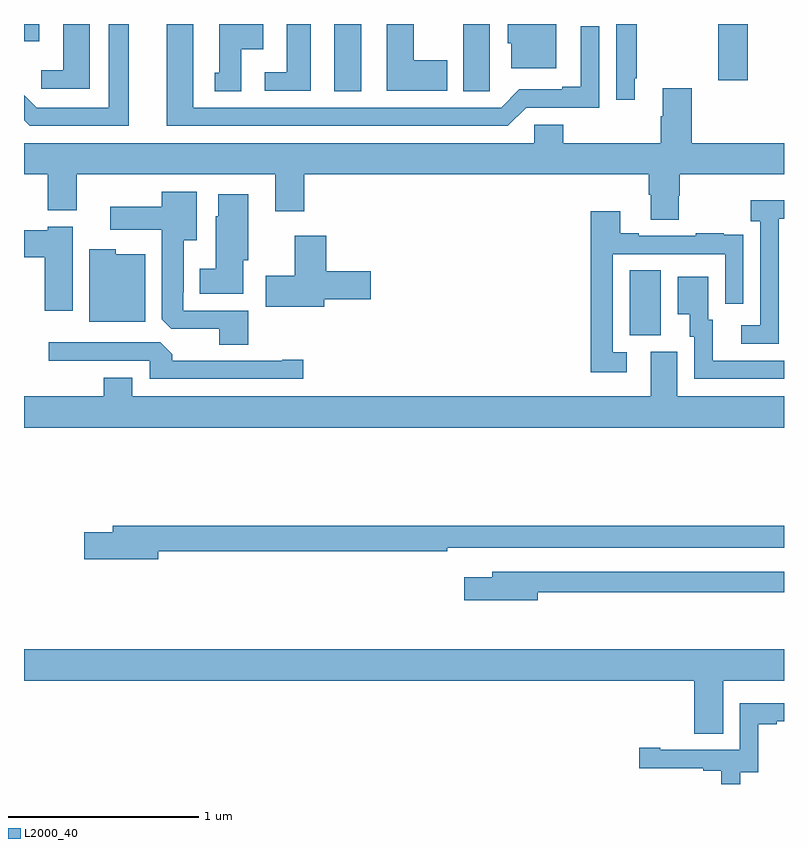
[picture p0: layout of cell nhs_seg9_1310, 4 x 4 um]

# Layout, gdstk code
import gdstk
lib = gdstk.Library(unit=1e-6, precision=1e-09)
def R(c, l, rs):  # rectangles x0, y0, x1, y1
    for r in rs: c.add(gdstk.rectangle(r[:2], r[2:], *l))
def P(c, l, *ps):  # polygons
    for p in ps: c.add(gdstk.Polygon(p, *l))
L2000_40 = (2000, 40)

nhs_seg9_1310 = lib.new_cell('nhs_seg9_1310')
R(nhs_seg9_1310, L2000_40, [(186.188,1240.861,186.352,1241.204), (184.634,1242.145,184.774,1242.5), (186.655,1242.204,186.809,1242.5), (183,1242.408,183.081,1242.5)])
P(nhs_seg9_1310, L2000_40, [(184.51,1242.5),(184.382,1242.5),(184.382,1242.246),(184.266,1242.246),(184.266,1242.15),(184.51,1242.15)],
  [(183.55,1242.5),(183.446,1242.5),(183.446,1242.06),(183.066,1242.06),(183,1242.126),(183,1241.994),(183.03,1241.964),(183.55,1241.964)],
  [(185.643,1242.06),(186.027,1242.06),(186.027,1242.487),(185.93,1242.487),(185.93,1242.169),(185.834,1242.169),(185.834,1242.156),(185.607,1242.156),(185.511,1242.06),(183.892,1242.06),(183.892,1242.5),(183.752,1242.5),(183.752,1241.964),(185.547,1241.964)],
  [(185.8,1242.5),(185.546,1242.5),(185.546,1242.399),(185.564,1242.399),(185.564,1242.266),(185.8,1242.266)],
  [(184.144,1242.368),(184.258,1242.368),(184.258,1242.5),(184.028,1242.5),(184.028,1242.243),(184.004,1242.243),(184.004,1242.145),(184.144,1242.145)],
  [(186.214,1242.214),(186.226,1242.214),(186.226,1242.5),(186.117,1242.5),(186.117,1242.102),(186.214,1242.102)],
  [(183.346,1242.5),(183.206,1242.5),(183.206,1242.256),(183.09,1242.256),(183.09,1242.159),(183.346,1242.159)],
  [(185.451,1242.256),(185.452,1242.256),(185.452,1242.5),(185.312,1242.5),(185.312,1242.145),(185.451,1242.145)],
  [(185.227,1242.309),(185.05,1242.309),(185.05,1242.5),(184.91,1242.5),(184.91,1242.149),(185.227,1242.149)],
  [(186.447,1241.595),(186.452,1241.595),(186.452,1241.708),(187,1241.708),(187,1241.872),(186.515,1241.872),(186.515,1242.163),(186.362,1242.163),(186.362,1242.014),(186.35,1242.014),(186.35,1241.872),(185.837,1241.872),(185.837,1241.97),(185.685,1241.97),(185.685,1241.872),(183,1241.872),(183,1241.708),(183.125,1241.708),(183.125,1241.519),(183.277,1241.519),(183.277,1241.708),(184.322,1241.708),(184.322,1241.514),(184.475,1241.514),(184.475,1241.708),(186.287,1241.708),(186.287,1241.602),(186.299,1241.602),(186.299,1241.47),(186.447,1241.47)],
  [(184.181,1240.992),(183.837,1240.992),(183.837,1241.089),(183.841,1241.089),(183.841,1241.363),(183.91,1241.363),(183.91,1241.617),(183.725,1241.617),(183.725,1241.539),(183.453,1241.539),(183.453,1241.417),(183.725,1241.417),(183.725,1240.945),(183.774,1240.896),(184.028,1240.896),(184.028,1240.813),(184.181,1240.813)],
  [(184.153,1241.256),(184.18,1241.256),(184.18,1241.605),(184.022,1241.605),(184.022,1241.487),(184.01,1241.487),(184.01,1241.212),(183.926,1241.212),(183.926,1241.081),(184.153,1241.081)],
  [(186.972,1241.475),(187,1241.475),(187,1241.572),(186.825,1241.572),(186.825,1241.462),(186.876,1241.462),(186.876,1240.914),(186.774,1240.914),(186.774,1240.818),(186.972,1240.818)],
  [(186.172,1240.773),(186.099,1240.773),(186.099,1241.289),(186.69,1241.289),(186.69,1241.028),(186.786,1241.028),(186.786,1241.282),(186.785,1241.282),(186.785,1241.391),(186.683,1241.391),(186.683,1241.398),(186.535,1241.398),(186.535,1241.385),(186.235,1241.385),(186.235,1241.398),(186.139,1241.398),(186.139,1241.515),(185.983,1241.515),(185.983,1240.668),(186.172,1240.668)],
  [(183.256,1241.434),(183.126,1241.434),(183.126,1241.415),(183,1241.415),(183,1241.273),(183.11,1241.273),(183.11,1240.992),(183.256,1240.992)],
  [(184.579,1241.051),(184.825,1241.051),(184.825,1241.198),(184.592,1241.198),(184.592,1241.386),(184.424,1241.386),(184.424,1241.175),(184.272,1241.175),(184.272,1241.012),(184.579,1241.012)],
  [(183.637,1241.287),(183.483,1241.287),(183.483,1241.314),(183.344,1241.314),(183.344,1240.934),(183.637,1240.934)],
  [(187,1240.728),(186.625,1240.728),(186.625,1240.944),(186.601,1240.944),(186.601,1241.17),(186.44,1241.17),(186.44,1240.973),(186.503,1240.973),(186.503,1240.854),(186.528,1240.854),(186.528,1240.632),(187,1240.632)],
  [(184.471,1240.733),(184.358,1240.733),(184.358,1240.728),(183.779,1240.728),(183.779,1240.762),(183.717,1240.824),(183.129,1240.824),(183.129,1240.728),(183.663,1240.728),(183.663,1240.632),(184.471,1240.632)],
  [(187,1240.54),(186.439,1240.54),(186.439,1240.776),(186.299,1240.776),(186.299,1240.54),(183.571,1240.54),(183.571,1240.639),(183.419,1240.639),(183.419,1240.54),(183,1240.54),(183,1240.376),(187,1240.376)],
  [(183.706,1239.724),(185.228,1239.724),(185.228,1239.744),(187,1239.744),(187,1239.86),(183.467,1239.86),(183.467,1239.824),(183.318,1239.824),(183.318,1239.682),(183.706,1239.682)],
  [(185.704,1239.51),(187,1239.51),(187,1239.618),(185.465,1239.618),(185.465,1239.589),(185.316,1239.589),(185.316,1239.467),(185.704,1239.467)],
  [(186.679,1239.044),(187,1239.044),(187,1239.208),(183,1239.208),(183,1239.044),(186.527,1239.044),(186.527,1238.764),(186.679,1238.764)],
  [(186.771,1238.563),(186.865,1238.563),(186.865,1238.814),(186.961,1238.814),(186.961,1238.829),(187,1238.829),(187,1238.925),(186.768,1238.925),(186.768,1238.679),(186.349,1238.679),(186.349,1238.692),(186.237,1238.692),(186.237,1238.583),(186.575,1238.583),(186.575,1238.571),(186.671,1238.571),(186.671,1238.5),(186.771,1238.5)])

lib.write_gds('nhs_seg9_1310.gds')
